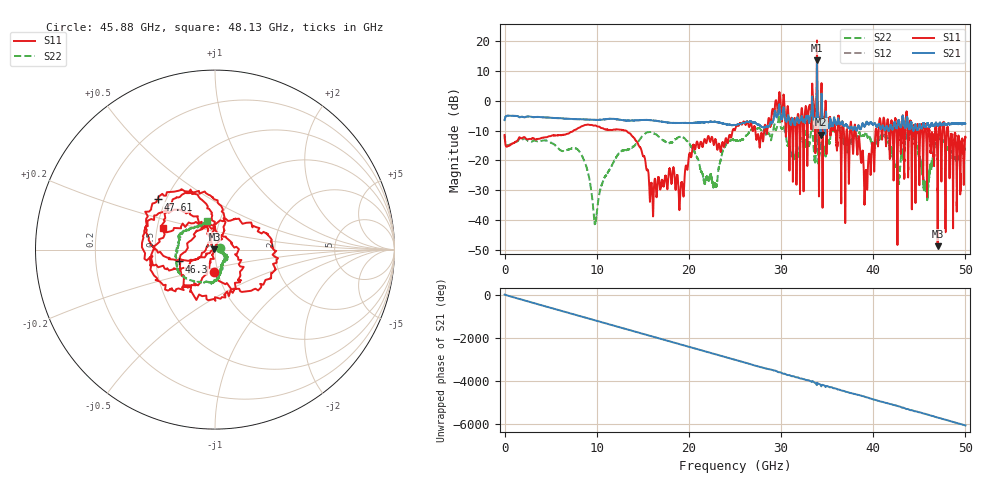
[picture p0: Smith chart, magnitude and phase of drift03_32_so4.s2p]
!Created with skrf (http://scikit-rf.org).
# Hz S RI R 50.0
!freq ReS11 ImS11 ReS21 ImS21 ReS12 ImS12 ReS22 ImS22
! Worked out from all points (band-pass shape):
!   10001 points, 300 kHz to 50 GHz, reference 50 ohm
!   highest |S21| = 13.43 dB at 33.9 GHz (marker M1); lowest = -11.4 dB at 34.32 GHz (marker M2)
!   |S21| within 3 dB of the highest: 33.89017 GHz to 33.90463 GHz (14.46 MHz wide, 0.0427 % of centre)
!   lowest |S11| = -48.6 dB at 46.99 GHz (marker M3), VSWR 1.01, Z = 49.7 + j0.181 ohm
!   |S11| at or under -10 dB: start of sweep to 7.484 GHz; 13.13 GHz to 24.74 GHz (11.61 GHz wide, 61.3 % of centre); 38.09 GHz to 40.26 GHz (2.168 GHz wide, 5.54 % of centre) (the widest 3 of 49)
!   |S22| runs from -41.3 to 5.9 dB; largest |S21 - S12| = 0.34
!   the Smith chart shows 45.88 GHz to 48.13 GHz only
!   S11 on the Smith chart (normalised r, x): 45.88 GHz: 0.96, -0.24; 46.3 GHz: 0.66, -0.09; 47.61 GHz: 0.45, +0.31; 48.13 GHz: 0.54, +0.14
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300000  -0.2379 -0.1214  0.4668 0.0776  0.4663 0.0802  -0.2352 -0.1245
1.440291e9  0.21 0.0647  -0.5478 -0.0294  -0.5481 -0.0289  0.2111 -0.00454
2.915283e9  -0.2118 -0.0881  0.534 0.0514  0.5342 0.0511  -0.2023 0.0402
4.415274e9  0.2063 0.132  -0.5221 -0.0418  -0.5219 -0.0413  0.1979 -0.0872
8.33525e9  0.2882 -0.234  0.1472 0.466  0.1467 0.466  -0.0728 -0.1009
9.845241e9  -0.3632 0.1293  -0.1484 -0.4519  -0.1487 -0.4518  0.00859 0.00231
1.66702e10  0.0273 0.0436  -0.377 0.2539  -0.378 0.2542  -0.1271 -0.219
2.500015e10  -0.3255 -0.0141  -0.2548 -0.2957  -0.2545 -0.2975  -0.2138 0.0294
2.895013e10  -0.3193 0.4227  -0.2904 0.325  -0.3017 0.2899  0.0639 0.2209
3.006512e10  0.399 0.263  0.4489 -0.1988  0.4529 -0.1857  0.1739 -0.2979
3.171011e10  -0.0895 0.1875  -0.3612 0.3579  -0.3593 0.3554  0.0662 0.1581
3.33351e10  0.6249 -0.7736  0.263 -0.8315  0.2627 -0.8102  -0.181 -0.4209
3.38951e10  -2.43 -9.822  -4.626 0.8015  -4.344 0.9972  0.515 1.896
3.432009e10  -0.7788 -0.000326  -0.1798 0.1991  -0.2406 0.1794  0.1423 -0.0739
3.919506e10  0.0645 0.0124  0.2012 -0.3578  0.2076 -0.3509  -0.2693 -0.1205
4.167005e10  -0.1987 0.3048  0.313 0.00159  0.3125 0.00779  -0.1869 -0.0145
4.588002e10  -0.0042 -0.1254  -0.3535 -0.2236  -0.3532 -0.2239  0.0267 0.0089
4.630002e10  -0.2014 -0.0658  -0.3883 0.1568  -0.39 0.1496  0.0522 -0.0448
4.699002e10  -0.00322 0.00182  0.0973 0.3714  0.0994 0.3688  -0.1319 -0.1734
4.761001e10  -0.3196 0.2795  0.4115 -0.0157  0.4041 -0.012  -0.1959 0.0539
4.813001e10  -0.2881 0.1208  0.1862 -0.3673  0.1907 -0.3687  -0.0435 0.1571
5e10  -0.1189 -0.2137  0.1485 0.383  0.1448 0.3816  -0.0563 -0.1445
